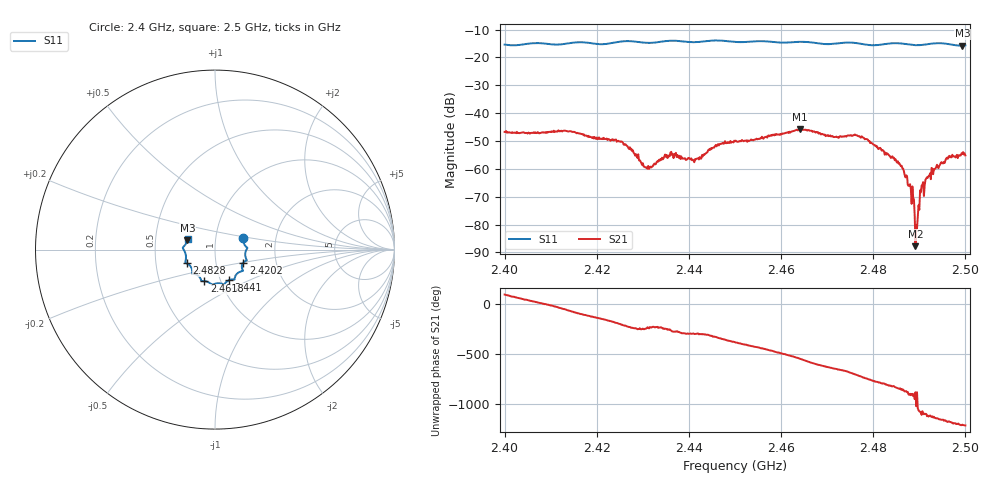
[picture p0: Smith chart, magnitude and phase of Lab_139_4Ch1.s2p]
# Hz S RI R 50
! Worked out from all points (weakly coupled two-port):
!   601 points, 2.4 GHz to 2.5 GHz, reference 50 ohm
!   highest |S21| = -45.73 dB at 2.464 GHz (marker M1); lowest = -87.8 dB at 2.4892 GHz (marker M2)
!   lowest |S11| = -15.8 dB at 2.4993 GHz (marker M3), VSWR 1.39, Z = 36.5 + j3.89 ohm
!   |S11| at or under -10 dB: start of sweep to end of sweep
!   S12 and S22 are empty: the file has one direction only
!   S11 on the Smith chart (normalised r, x): 2.4 GHz: 1.36, +0.17; 2.4202 GHz: 1.36, -0.20; 2.441 GHz: 1.10, -0.39; 2.4618 GHz: 0.84, -0.30; 2.4828 GHz: 0.72, -0.11; 2.5 GHz: 0.73, +0.09
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2.4e9  0.1579 0.062  -0.000347 0.00459  0 0  0 0
2.416667e9  0.1769 -0.0604  -0.000866 -0.00412  0 0  0 0
2.420167e9  0.158 -0.072  -0.0026 -0.00222  0 0  0 0
2.425167e9  0.1545 -0.1141  -0.00282 0.00118  0 0  0 0
2.430833e9  0.1279 -0.1301  -0.000481 0.000953  0 0  0 0
2.433333e9  0.1115 -0.1511  -0.000679 0.00116  0 0  0 0
2.441e9  0.0782 -0.1702  0.000631 0.00127  0 0  0 0
2.45e9  0.0277 -0.1875  0.00286 -0.00123  0 0  0 0
2.461833e9  -0.0599 -0.1758  -0.00429 -0.00175  0 0  0 0
2.464e9  -0.0736 -0.1753  -0.00513 0.000695  0 0  0 0
2.466667e9  -0.0786 -0.1677  -0.00306 0.00371  0 0  0 0
2.4765e9  -0.1272 -0.127  0.00396 0.000501  0 0  0 0
2.482833e9  -0.1571 -0.0768  0.000114 -0.0018  0 0  0 0
2.483333e9  -0.1601 -0.0755  -0.000264 -0.00176  0 0  0 0
2.486833e9  -0.1634 -0.0606  -0.000708 -0.0003  0 0  0 0
2.488333e9  -0.1615 -0.0449  -0.000235 1.13e-05  0 0  0 0
2.489167e9  -0.162 -0.0342  -3.96e-05 -1.04e-05  0 0  0 0
2.4895e9  -0.1625 -0.0298  -8.23e-05 -2.25e-05  0 0  0 0
2.490333e9  -0.1654 -0.0191  0.000372 -6.88e-05  0 0  0 0
2.491833e9  -0.1728 -0.00299  0.000545 -0.000427  0 0  0 0
2.499333e9  -0.1541 0.0519  -0.00118 -0.00142  0 0  0 0
2.5e9  -0.1526 0.0611  -0.00129 -0.00117  0 0  0 0
